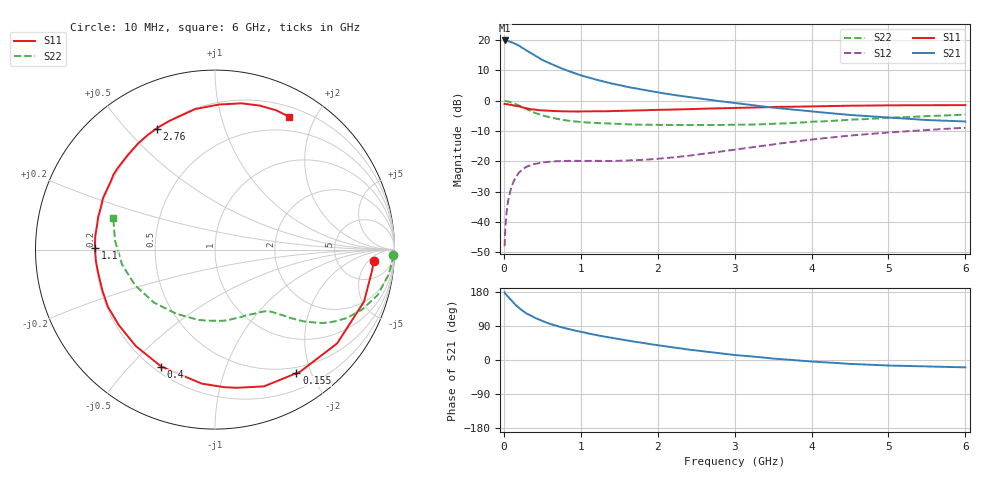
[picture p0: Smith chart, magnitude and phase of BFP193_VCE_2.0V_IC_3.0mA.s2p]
! Infineon Technologies  Discrete & RF Semiconductors
! BFP193
! VCE = 2.0 V,  IC =  3.0 mA
! Common Emitter S-Parameters:  Jan 2016
# GHz  S  MA  R  50
!  f  S11  S21  S12  S22
! GHz  MAG  ANG  MAG  ANG  MAG  ANG  MAG  ANG
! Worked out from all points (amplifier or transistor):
!   210 points, 10 MHz to 6 GHz, reference 50 ohm
!   highest |S21| = 19.9 dB at 10 MHz (marker M1)
!   |S21| within 3 dB of that: start of sweep to 275 MHz
!   unconditionally stable (mu >= 1): 1.432 GHz to 3.499 GHz
!   at 185 MHz: K = 0.15, MSG = 21.2 dB, |S12| = -24.1 dB
!   at 1.52 GHz: K = 1.04, MAG = 11.2 dB, |S12| = -19.8 dB
!   at 6 GHz: K = 0.95, MSG = 1.0 dB, |S12| = -8.9 dB
!   S11 on the Smith chart (normalised r, x): 10 MHz: 12, -7; 155 MHz: 0.41, -1.78; 400 MHz: 0.23, -0.62; 1.1 GHz: 0.20, +0.01; 2.76 GHz: 0.20, +0.61; 6 GHz: 0.31, +1.65
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0.01  0.8869 -4.1  9.868 178.7  0.004 90.8  0.993 -1.7
0.02  0.8826 -7.7  9.767 174.9  0.0082 81.9  0.9914 -3.2
0.055  0.8735 -21.0  9.623 167.0  0.0218 77.5  0.9736 -8.8
0.1  0.8581 -37.5  9.274 157.1  0.0383 70.2  0.9409 -15.6
0.155  0.8248 -56.6  8.61 144.9  0.0549 60.5  0.8805 -22.5
0.2  0.8094 -70.3  8.06 137.0  0.0659 54.4  0.8297 -27.3
0.26  0.7687 -86.0  7.173 127.6  0.0764 46.9  0.761 -32.1
0.3  0.7504 -95.6  6.693 122.2  0.0821 43.4  0.7214 -34.6
0.4  0.7171 -114.7  5.623 111.6  0.0907 35.7  0.6336 -39.1
0.5  0.6954 -129.4  4.72 102.7  0.0957 30.6  0.5732 -41.9
0.6  0.6815 -141.8  4.115 95.4  0.0994 27.0  0.5322 -43.8
0.7  0.6765 -151.9  3.633 89.1  0.1007 24.7  0.4998 -45.6
0.8  0.6677 -159.9  3.223 83.7  0.1019 23.1  0.4762 -47.1
1.02  0.6667 -175.8  2.586 73.4  0.1019 21.8  0.4441 -50.7
1.1  0.6691 179.3  2.416 69.9  0.102 21.7  0.4364 -52.2
1.6  0.6868 155.3  1.699 51.5  0.103 25.6  0.41 -62.6
2.02  0.7077 139.4  1.364 38.6  0.1111 31.9  0.3993 -73.0
2.76  0.7488 115.8  1.002 19.0  0.1419 39.8  0.3977 -95.4
3.1  0.7641 107.1  0.888 11.6  0.1631 40.7  0.4025 -107.1
4.1  0.811 86.6  0.649 -5.2  0.2365 35.3  0.4545 -142.7
5.1  0.8409 71.4  0.519 -15.1  0.3057 23.6  0.5292 -174.0
6  0.8477 61.0  0.455 -19.4  0.3593 12.0  0.5932 162.9
